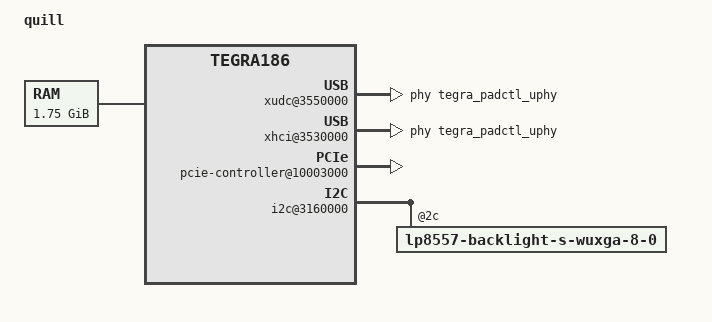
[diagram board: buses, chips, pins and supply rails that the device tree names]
/*

 * tegra186-quill-p3310-a00-00-base.dts Quill A00 Board
 *
 * Copyright (c) 2015-2016, NVIDIA CORPORATION.  All rights reserved.
 *
 * This program is free software; you can redistribute it and/or modify
 * it under the terms of the GNU General Public License as published by
 * the Free Software Foundation; version 2 of the License.
 *
 * This program is distributed in the hope that it will be useful, but WITHOUT
 * ANY WARRANTY; without even the implied warranty of MERCHANTABILITY or
 * FITNESS FOR A PARTICULAR PURPOSE.  See the GNU General Public License for
 * more details.
 */

#include "tegra186-platforms/tegra186-quill-common-p3310-1000-a00.dtsi"
#include "tegra186-platforms/tegra186-quill-power-tree-p3310-1000-a00-00.dtsi"
#include "tegra186-platforms/tegra186-quill-camera-e3323-a00.dtsi"
#include "tegra186-modules/tegra186-cvb-e3320-1000-a00.dtsi"

/* comms dtsi file should be included after gpio dtsi file */
#include "tegra186-platforms/tegra186-quill-comms.dtsi"
#include "tegra186-plugin-manager/tegra186-quill-p3310-1000-a00-plugin-manager.dtsi"
#include "tegra186-modules/tegra186-super-module-e2614-p2597-1000-a00.dtsi"
#include "tegra186-plugin-manager/tegra186-quill-display-plugin-manager.dtsi"

/ {
	model = "quill";
	compatible = "nvidia,quill", "nvidia,tegra186";

	nvidia,dtsfilename = __FILE__;
	nvidia,boardids = "3310:0000:A0";
	nvidia,proc-boardid = "3310:0000:A0";

	chosen {
		bootargs ="console=ttyS0,115200";
		stdout-path = &uarta;
	};

	firmware {
		android {
			compatible = "android,firmware";
			hardware = "quill";
		};
	};

	memory@80000000 {
		device_type = "memory";
		reg = <0x0 0x80000000 0x0 0x70000000>;
	};

	xudc@3550000 {
		status = "okay";
		phys = <&tegra_padctl_uphy TEGRA_PADCTL_UPHY_UTMI_P(0)>;
		phy-names = "usb2";
	};

	xhci@3530000 {
		status = "okay";
		phys = <&tegra_padctl_uphy TEGRA_PADCTL_UPHY_UTMI_P(0)>,
			<&tegra_padctl_uphy TEGRA_PADCTL_UPHY_UTMI_P(1)>,
			<&tegra_padctl_uphy TEGRA_PADCTL_UPHY_USB3_P(1)>;
		phy-names = "utmi-0", "utmi-1", "usb3-1";
	};

	pinctrl@3520000 {
		status = "okay";
		pinctrl-0 = <&tegra_padctl_uphy_pinmux_default>;
		pinctrl-names = "default";
		tegra_padctl_uphy_pinmux_default: pinmux {
			/* Quill does not support usb3-micro AB */
			usb2-micro-AB {
				nvidia,lanes = "otg-0";
				nvidia,function = "xusb";
				nvidia,port-cap = <TEGRA_PADCTL_PORT_OTG_CAP>;
			};
			usb2-std-A-port2 {
				nvidia,lanes = "otg-1";
				nvidia,function = "xusb";
				nvidia,port-cap = <TEGRA_PADCTL_PORT_HOST_ONLY>;
			};
			usb3-std-A-port2 {
				nvidia,lanes = "uphy-lane-1";
				nvidia,function = "usb3";
				nvidia,usb3-port = <1>;
				nvidia,port-cap = <TEGRA_PADCTL_PORT_HOST_ONLY>;
			};
			pcie {
				nvidia,lanes = "uphy-lane-0", "uphy-lane-2", "uphy-lane-3", "uphy-lane-4";
				nvidia,function = "pcie";
				nvidia,pcie-controller = <0>;
			};
			sata {
				nvidia,lanes = "uphy-lane-5";
				nvidia,function = "sata";
			};
		};
	};
	pcie-controller@10003000 {
		nvidia,lane-map = <0x211>;
		status = "okay";
		pci@1,0 {
			status = "okay";
		};
		pci@2,0 {
			status = "okay";
		};
		pci@3,0 {
			status = "okay";
		};
	};

	i2c@3160000 {
		lp8557-backlight-s-wuxga-8-0@2c {
			status = "okay";
		};
	};

	cpus {
		status = "disabled";
	};

	host1x {
		sor {
			status = "disabled";
			hdmi-display {
				status = "disabled";
			};

			panel-s-edp-uhdtv-15-6 {
				smartdimmer {
					status = "disabled";
				};
			};
		};
	};
};
